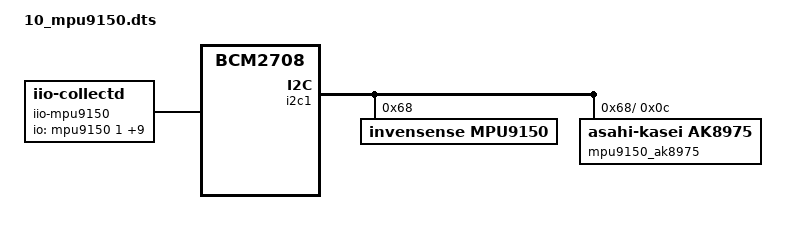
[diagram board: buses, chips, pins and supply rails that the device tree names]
/dts-v1/;
/plugin/;

/ {
  compatible = "brcm,bcm2708"; /* probably will soon be bcm2835? */

  fragment@0 {
    target = <&i2c1>; /* NOTE: cannot use i2c_arm here! */
    __overlay__ {
      #address-cells = <1>; /* 1 for i2c devices */
      #size-cells = <0>;    /* 0 for i2c devices */
      status = "okay";

      mpu9150@68 {
        /* i2c */
        compatible = "invensense,mpu9150";
        reg = <0x68>;
        status = "okay";

        /* iio */
        #io-channel-cells = <1>; /* 1 for multiple channels */

        /* iio/imu/mpu6050 special config */
        /* See: https://www.kernel.org/doc/Documentation/devicetree/bindings/iio/imu/inv_mpu6050.txt */
        i2c-gate {
          #address-cells = <1>; /* 1 for i2c devices */
          #size-cells = <0>;    /* 0 for i2c devices */
          status = "okay";

          mpu9150_ak8975: ak8975@0c {
            /* i2c */
            compatible = "asahi-kasei,ak8975";
            reg = <0x0c>;
            status = "okay";

            /* iio */
            #io-channel-cells = <1>; /* 1 for multiple channels */

            /* iio/magnetometer/ak8975 special config */
            /* See: https://www.kernel.org/doc/Documentation/devicetree/bindings/iio/magnetometer/ak8975.txt */
          };
        };
      };
    };
  };

  /* iio-hwmon bridge (modified version) */
  /* This mirrors iio channels to hwmon, which can be hooked to collectd. */
  fragment@1 {
    target-path = "/";
    __overlay__ {
      iio-mpu9150 {
        compatible = "iio-collectd";
        /* Channel 0 is timestamp, 1 is package temperature. */
        io-channels = <&mpu9150 1>,
                      <&mpu9150 2>, <&mpu9150 3>, <&mpu9150 4>,
                      <&mpu9150 5>, <&mpu9150 6>, <&mpu9150 7>,
                      <&mpu9150_ak8975 0>, <&mpu9150_ak8975 1>, <&mpu9150_ak8975 2>;
        io-channel-names =  "Package",
                            "Gyro X deg/s", "Gyro Y deg/s", "Gyro Z deg/s",
                            "Accel X m/s2", "Accel Y m/s2", "Accel Z m/s2",
                            "Mag X uT", "Mag Y uT", "Mag Z uT";
      };
    };
  };
};
